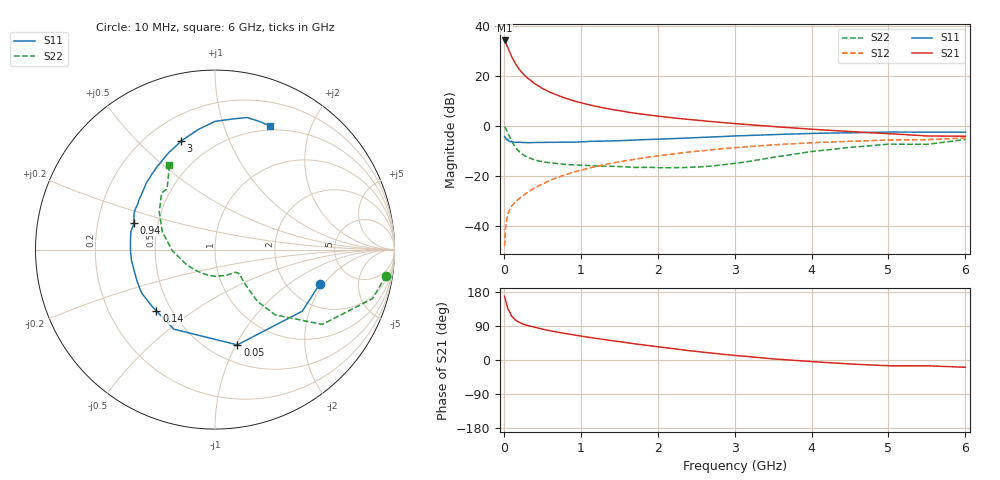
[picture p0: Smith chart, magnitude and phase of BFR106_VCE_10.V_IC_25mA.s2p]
! Infineon Technologies  Discrete & RF Semiconductors
! BFR106
! VCE =  10. V,  IC =  25 mA
! Common Emitter S-Parameters:  Nov 2015
# GHz  S  MA  R  50
!  f  S11  S21  S12  S22
! GHz  MAG  ANG  MAG  ANG  MAG  ANG  MAG  ANG
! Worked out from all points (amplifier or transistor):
!   210 points, 10 MHz to 6 GHz, reference 50 ohm
!   highest |S21| = 34.1 dB at 10 MHz (marker M1)
!   |S21| within 3 dB of that: start of sweep to 54.52 MHz
!   unconditionally stable (mu >= 1): 373.8 MHz to 2.147 GHz
!   at 185 MHz: K = 0.79, MSG = 26.3 dB, |S12| = -29.3 dB
!   at 1.52 GHz: K = 1.05, MAG = 8.7 dB, |S12| = -14.2 dB
!   at 6 GHz: K = 0.98, MSG = 0.3 dB, |S12| = -4.8 dB
!   S11 on the Smith chart (normalised r, x): 10 MHz: 2.97, -1.82; 50 MHz: 0.67, -1.01; 140 MHz: 0.41, -0.36; 940 MHz: 0.36, +0.14; 3 GHz: 0.34, +0.68; 6 GHz: 0.45, +1.44
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0.01  0.6147 -18.1  50.96 168.1  0.004 83.6  0.9635 -8.7
0.02  0.5951 -35.2  48.23 158.6  0.0085 76.9  0.9191 -17.3
0.05  0.5452 -76.8  37.36 135.5  0.0172 61.8  0.7282 -34.9
0.1  0.4991 -117.3  24.51 115.8  0.0252 55.9  0.4947 -47.3
0.14  0.4725 -133.7  18.8 107.9  0.0296 55.6  0.397 -49.9
0.15  0.4722 -138.0  17.45 105.2  0.0307 55.5  0.3727 -50.7
0.2  0.4752 -149.4  13.55 99.2  0.0356 58.5  0.3089 -50.0
0.24  0.4692 -155.9  11.46 95.6  0.0397 60.5  0.2737 -49.4
0.3  0.4656 -163.7  9.215 91.3  0.0467 62.7  0.2407 -48.5
0.4  0.4687 -172.4  7.004 86.1  0.0582 65.2  0.2096 -46.2
0.5  0.4708 -178.5  5.624 81.3  0.0694 66.9  0.1931 -44.9
0.6  0.4728 175.9  4.721 77.2  0.0821 67.6  0.1849 -45.5
0.8  0.479 167.8  3.584 69.8  0.1067 67.4  0.1708 -47.8
0.94  0.4771 161.6  3.083 65.2  0.124 66.9  0.1673 -50.2
1.02  0.4839 158.8  2.859 62.6  0.1336 66.4  0.1657 -52.5
1.4  0.5066 146.8  2.138 51.2  0.1805 63.1  0.1573 -64.9
2.02  0.5465 130.4  1.56 34.4  0.2557 55.8  0.1472 -93.9
3  0.6332 107.5  1.12 12.0  0.369 42.6  0.1801 -152.8
3.1  0.6401 105.5  1.089 10.4  0.379 41.0  0.188 -159.1
4.1  0.7174 88.5  0.844 -5.6  0.4709 26.0  0.3214 157.7
5.1  0.7564 75.1  0.69 -15.2  0.5263 12.2  0.4332 132.2
6  0.7531 65.9  0.625 -19.2  0.5768 1.7  0.5366 118.2
